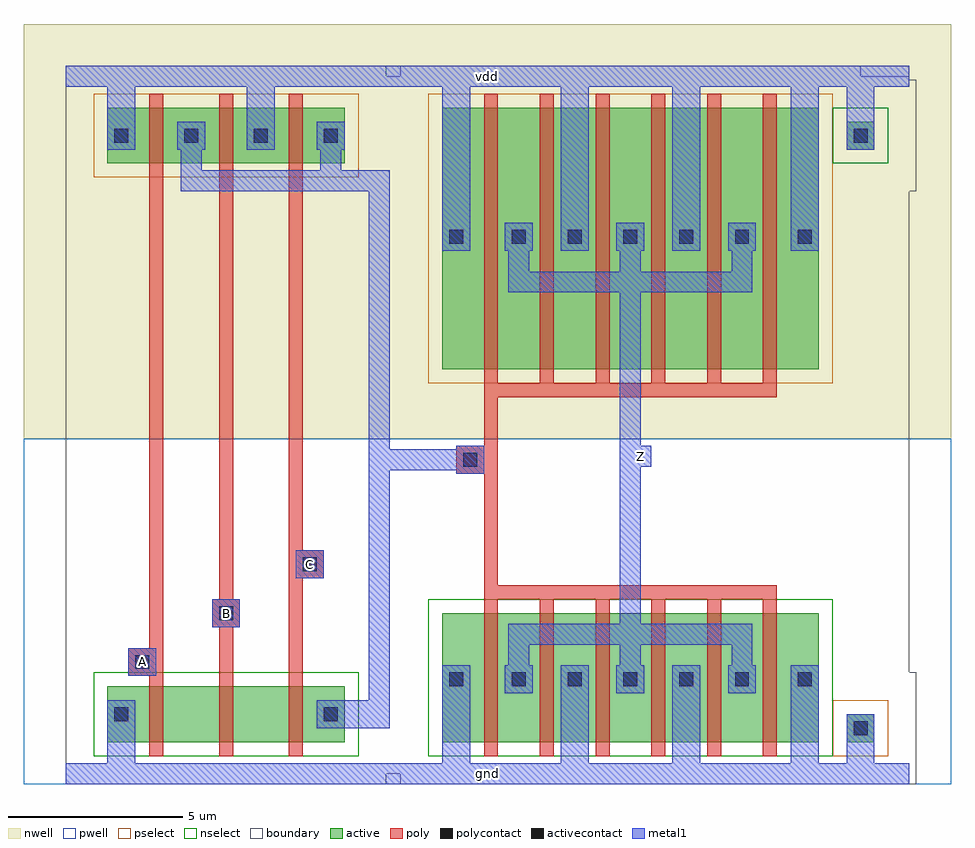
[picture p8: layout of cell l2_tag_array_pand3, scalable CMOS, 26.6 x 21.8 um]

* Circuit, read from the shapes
.subckt l2_tag_array_pand3 A B C Z gnd vdd
M1 l2_tag_array_pnand3_0_0/l2_tag_array_nmos_m1_w1_600_sm1_dactive_3/D A gnd gnd nfet w=1.6u l=0.4u
M2 l2_tag_array_pnand3_0_0/l2_tag_array_nmos_m1_w1_600_sactive_dactive_4/D B l2_tag_array_pnand3_0_0/l2_tag_array_nmos_m1_w1_600_sm1_dactive_3/D gnd nfet w=1.6u l=0.4u
M3 l2_tag_array_pdriver_2_1/A C l2_tag_array_pnand3_0_0/l2_tag_array_nmos_m1_w1_600_sactive_dactive_4/D gnd nfet w=1.6u l=0.4u
M4 Z l2_tag_array_pdriver_2_1/A gnd gnd nfet w=3.7u l=0.4u m=6
M5 l2_tag_array_pdriver_2_1/A A vdd vdd pfet w=1.6u l=0.4u
M6 vdd B l2_tag_array_pdriver_2_1/A vdd pfet w=1.6u l=0.4u
M7 l2_tag_array_pdriver_2_1/A C vdd vdd pfet w=1.6u l=0.4u
M8 Z l2_tag_array_pdriver_2_1/A vdd vdd pfet w=7.5u l=0.4u m=6
.ends

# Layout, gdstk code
import gdstk
lib = gdstk.Library(unit=1e-6, precision=1e-09)
def R(c, l, rs):  # rectangles x0, y0, x1, y1
    for r in rs: c.add(gdstk.rectangle(r[:2], r[2:], *l))
def A(c, l, x, y, w, h, nx, ny, dx, dy):  # array of equal rectangles
    R(c, l, [(x+i*dx, y+j*dy, x+i*dx+w, y+j*dy+h) for i in range(nx) for j in range(ny)])
pwell = (41, 0)
nwell = (42, 0)
active = (43, 0)
pselect = (44, 0)
nselect = (45, 0)
poly = (46, 0)
polycontact = (47, 0)
activecontact = (48, 0)
metal1 = (49, 0)
boundary = (63, 0)

l2_tag_array_contact_11 = lib.new_cell('l2_tag_array_contact_11')
R(l2_tag_array_contact_11, nwell, [(-1.2,-1.2,2,2)])
R(l2_tag_array_contact_11, active, [(0,0,0.8,0.8)])
R(l2_tag_array_contact_11, pselect, [(-0.4,-0.4,1.2,1.2)])
R(l2_tag_array_contact_11, activecontact, [(0.2,0.2,0.6,0.6)])
R(l2_tag_array_contact_11, metal1, [(0,0,0.8,0.8)])
R(l2_tag_array_contact_11, boundary, [(-1.2,-1.2,2,2)])

l2_tag_array_pmos_m1_w1_ = lib.new_cell('l2_tag_array_pmos_m1_w1_600_sm1_dm1')
R(l2_tag_array_pmos_m1_w1_, nwell, [(-1.2,-1.2,4,2.8)])
R(l2_tag_array_pmos_m1_w1_, active, [(0,0,2.8,1.6)])
R(l2_tag_array_pmos_m1_w1_, pselect, [(-0.4,-0.4,3.2,2)])
R(l2_tag_array_pmos_m1_w1_, poly, [(1.2,-0.4,1.6,2), (1.2,-0.4,1.6,2)])
R(l2_tag_array_pmos_m1_w1_, metal1, [(0,0.4,0.8,1.2), (2,0.4,2.8,1.2)])
R(l2_tag_array_pmos_m1_w1_, boundary, [(-1.2,-1.2,4,2.8)])
l2_tag_array_pmos_m1_w1_.add(gdstk.Reference(l2_tag_array_contact_11, (0,0.4)))
l2_tag_array_pmos_m1_w1_.add(gdstk.Reference(l2_tag_array_contact_11, (2,0.4)))
l2_tag_array_pmos_m1_w1_.add(gdstk.Label('G', (1.4,0.8), layer=46, texttype=0))
l2_tag_array_pmos_m1_w1_.add(gdstk.Label('S', (0.4,0.8), layer=49, texttype=0))
l2_tag_array_pmos_m1_w1_.add(gdstk.Label('D', (2.4,0.8), layer=49, texttype=0))

l2_tag_array_contact_10 = lib.new_cell('l2_tag_array_contact_10')
R(l2_tag_array_contact_10, pwell, [(-1.2,-1.2,2,2)])
R(l2_tag_array_contact_10, active, [(0,0,0.8,0.8)])
R(l2_tag_array_contact_10, nselect, [(-0.4,-0.4,1.2,1.2)])
R(l2_tag_array_contact_10, activecontact, [(0.2,0.2,0.6,0.6)])
R(l2_tag_array_contact_10, metal1, [(0,0,0.8,0.8)])
R(l2_tag_array_contact_10, boundary, [(-1.2,-1.2,2,2)])

l2_tag_array_nmos_m1_w1_ = lib.new_cell('l2_tag_array_nmos_m1_w1_600_sm1_dactive')
R(l2_tag_array_nmos_m1_w1_, pwell, [(-1.2,-1.2,4,2.8)])
R(l2_tag_array_nmos_m1_w1_, active, [(0,0,2.8,1.6), (2.1,0.5,2.7,1.1)])
R(l2_tag_array_nmos_m1_w1_, nselect, [(-0.4,-0.4,3.2,2)])
R(l2_tag_array_nmos_m1_w1_, poly, [(1.2,-0.4,1.6,2), (1.2,-0.4,1.6,2)])
R(l2_tag_array_nmos_m1_w1_, metal1, [(0,0.4,0.8,1.2)])
R(l2_tag_array_nmos_m1_w1_, boundary, [(-1.2,-1.2,4,2.8)])
l2_tag_array_nmos_m1_w1_.add(gdstk.Reference(l2_tag_array_contact_10, (0,0.4)))
l2_tag_array_nmos_m1_w1_.add(gdstk.Label('G', (1.4,0.8), layer=46, texttype=0))
l2_tag_array_nmos_m1_w1_.add(gdstk.Label('S', (0.4,0.8), layer=49, texttype=0))
l2_tag_array_nmos_m1_w1_.add(gdstk.Label('D', (2.4,0.8), layer=43, texttype=0))

c_l2_tag_array_nmos_m1_w1_ = lib.new_cell('l2_tag_array_nmos_m1_w1_600_sactive_dactive')
R(c_l2_tag_array_nmos_m1_w1_, pwell, [(-1.2,-1.2,4,2.8)])
R(c_l2_tag_array_nmos_m1_w1_, active, [(0,0,2.8,1.6), (0.1,0.5,0.7,1.1), (2.1,0.5,2.7,1.1)])
R(c_l2_tag_array_nmos_m1_w1_, nselect, [(-0.4,-0.4,3.2,2)])
R(c_l2_tag_array_nmos_m1_w1_, poly, [(1.2,-0.4,1.6,2), (1.2,-0.4,1.6,2)])
R(c_l2_tag_array_nmos_m1_w1_, boundary, [(-1.2,-1.2,4,2.8)])
c_l2_tag_array_nmos_m1_w1_.add(gdstk.Label('G', (1.4,0.8), layer=46, texttype=0))
c_l2_tag_array_nmos_m1_w1_.add(gdstk.Label('S', (0.4,0.8), layer=43, texttype=0))
c_l2_tag_array_nmos_m1_w1_.add(gdstk.Label('D', (2.4,0.8), layer=43, texttype=0))

c_l2_tag_array_nmos_m1_w1__ = lib.new_cell('l2_tag_array_nmos_m1_w1_600_sactive_dm1')
R(c_l2_tag_array_nmos_m1_w1__, pwell, [(-1.2,-1.2,4,2.8)])
R(c_l2_tag_array_nmos_m1_w1__, active, [(0,0,2.8,1.6), (0.1,0.5,0.7,1.1)])
R(c_l2_tag_array_nmos_m1_w1__, nselect, [(-0.4,-0.4,3.2,2)])
R(c_l2_tag_array_nmos_m1_w1__, poly, [(1.2,-0.4,1.6,2), (1.2,-0.4,1.6,2)])
R(c_l2_tag_array_nmos_m1_w1__, metal1, [(2,0.4,2.8,1.2)])
R(c_l2_tag_array_nmos_m1_w1__, boundary, [(-1.2,-1.2,4,2.8)])
c_l2_tag_array_nmos_m1_w1__.add(gdstk.Reference(l2_tag_array_contact_10, (2,0.4)))
c_l2_tag_array_nmos_m1_w1__.add(gdstk.Label('G', (1.4,0.8), layer=46, texttype=0))
c_l2_tag_array_nmos_m1_w1__.add(gdstk.Label('S', (0.4,0.8), layer=43, texttype=0))
c_l2_tag_array_nmos_m1_w1__.add(gdstk.Label('D', (2.4,0.8), layer=49, texttype=0))

l2_tag_array_contact_14 = lib.new_cell('l2_tag_array_contact_14')
R(l2_tag_array_contact_14, poly, [(0,0,0.8,0.8)])
R(l2_tag_array_contact_14, polycontact, [(0.2,0.2,0.6,0.6)])
R(l2_tag_array_contact_14, metal1, [(0,0,0.8,0.8)])
R(l2_tag_array_contact_14, boundary, [(0,0,0.8,0.8)])

l2_tag_array_pnand3_0 = lib.new_cell('l2_tag_array_pnand3_0')
R(l2_tag_array_pnand3_0, pwell, [(-1.2,-0.3,10.8,9.6)])
R(l2_tag_array_pnand3_0, nwell, [(-1.2,9.6,10.8,21.5)])
A(l2_tag_array_pnand3_0, poly, 2.4, 2.9, 0.4, 14.2, 3, 1, 2, 0)
R(l2_tag_array_pnand3_0, poly, [(2.2,2.8,2.4,3.6), (4.4,4.2,4.6,5), (6.4,5.6,7,6.4)])
R(l2_tag_array_pnand3_0, metal1, [(0,-0.3,9.6,0.3), (1.2,-0.3,2,1.3), (7.6,1.3,9,2.1), (8.7,1.3,9.3,17), (1.8,2.8,2.6,3.6), (4.2,4.2,5,5), (6.6,5.6,7.4,6.4), (3.3,16.7,3.9,17.3), (3.6,16.7,9,17.3), (7.3,16.7,7.9,17.3), (7.6,16.7,9,17.3), (8.7,16.7,9.3,17.3), (3.3,17,3.9,18.3), (7.3,17,7.9,18.3), (1.2,17.9,2,20.3), (5.2,17.9,6,20.3), (0,19.7,9.6,20.3)])
R(l2_tag_array_pnand3_0, boundary, [(0,0,9.6,20), (0,0,9.6,20)])
l2_tag_array_pnand3_0.add(gdstk.Reference(l2_tag_array_pmos_m1_w1_, (1.2,17.5)))
l2_tag_array_pnand3_0.add(gdstk.Reference(l2_tag_array_pmos_m1_w1_, (3.2,17.5)))
l2_tag_array_pnand3_0.add(gdstk.Reference(l2_tag_array_pmos_m1_w1_, (5.2,17.5)))
l2_tag_array_pnand3_0.add(gdstk.Reference(l2_tag_array_nmos_m1_w1_, (1.2,0.9)))
l2_tag_array_pnand3_0.add(gdstk.Reference(c_l2_tag_array_nmos_m1_w1_, (3.2,0.9)))
l2_tag_array_pnand3_0.add(gdstk.Reference(c_l2_tag_array_nmos_m1_w1__, (5.2,0.9)))
l2_tag_array_pnand3_0.add(gdstk.Reference(l2_tag_array_contact_14, (1.8,2.8)))
l2_tag_array_pnand3_0.add(gdstk.Reference(l2_tag_array_contact_14, (4.2,4.2)))
l2_tag_array_pnand3_0.add(gdstk.Reference(l2_tag_array_contact_14, (6.6,5.6)))
l2_tag_array_pnand3_0.add(gdstk.Label('A', (2.2,3.2), layer=49, texttype=0))
l2_tag_array_pnand3_0.add(gdstk.Label('B', (4.6,4.6), layer=49, texttype=0))
l2_tag_array_pnand3_0.add(gdstk.Label('C', (7,6), layer=49, texttype=0))
l2_tag_array_pnand3_0.add(gdstk.Label('Z', (9,17), layer=49, texttype=0))
l2_tag_array_pnand3_0.add(gdstk.Label('gnd', (4.8,0), layer=49, texttype=0))
l2_tag_array_pnand3_0.add(gdstk.Label('vdd', (4.8,20), layer=49, texttype=0))

l2_tag_array_pmos_m6_w7_ = lib.new_cell('l2_tag_array_pmos_m6_w7_500_sm1_dm1_da_p')
R(l2_tag_array_pmos_m6_w7_, nwell, [(-1.2,-1.2,12,8.7)])
R(l2_tag_array_pmos_m6_w7_, active, [(0,0,10.8,7.5)])
R(l2_tag_array_pmos_m6_w7_, pselect, [(-0.4,-0.4,11.2,7.9)])
A(l2_tag_array_pmos_m6_w7_, poly, 1.2, -0.4, 0.4, 8.3, 6, 1, 1.6, 0)
R(l2_tag_array_pmos_m6_w7_, poly, [(1.2,-0.8,9.6,-0.4)])
A(l2_tag_array_pmos_m6_w7_, metal1, 1.9, 2.4, 0.6, 1.4, 3, 1, 3.2, 0)
R(l2_tag_array_pmos_m6_w7_, metal1, [(1.9,2.2,8.9,2.8), (0,3.4,0.8,4.2), (3.4,3.4,4.2,4.2), (6.6,3.4,7.4,4.2), (10,3.4,10.8,4.2)])
R(l2_tag_array_pmos_m6_w7_, boundary, [(-1.2,-1.2,12,8.7)])
l2_tag_array_pmos_m6_w7_.add(gdstk.Reference(l2_tag_array_contact_11, (0,3.4)))
l2_tag_array_pmos_m6_w7_.add(gdstk.Reference(l2_tag_array_contact_11, (1.8,3.4)))
l2_tag_array_pmos_m6_w7_.add(gdstk.Reference(l2_tag_array_contact_11, (3.4,3.4)))
l2_tag_array_pmos_m6_w7_.add(gdstk.Reference(l2_tag_array_contact_11, (5,3.4)))
l2_tag_array_pmos_m6_w7_.add(gdstk.Reference(l2_tag_array_contact_11, (6.6,3.4)))
l2_tag_array_pmos_m6_w7_.add(gdstk.Reference(l2_tag_array_contact_11, (8.2,3.4)))
l2_tag_array_pmos_m6_w7_.add(gdstk.Reference(l2_tag_array_contact_11, (10,3.4)))
l2_tag_array_pmos_m6_w7_.add(gdstk.Label('G', (5.4,-0.6), layer=46, texttype=0))
l2_tag_array_pmos_m6_w7_.add(gdstk.Label('S', (10.4,3.8), layer=49, texttype=0))
l2_tag_array_pmos_m6_w7_.add(gdstk.Label('S', (0.4,3.8), layer=49, texttype=0))
l2_tag_array_pmos_m6_w7_.add(gdstk.Label('S', (3.8,3.8), layer=49, texttype=0))
l2_tag_array_pmos_m6_w7_.add(gdstk.Label('S', (7,3.8), layer=49, texttype=0))
l2_tag_array_pmos_m6_w7_.add(gdstk.Label('D', (5.4,2.5), layer=49, texttype=0))

l2_tag_array_nmos_m6_w3_ = lib.new_cell('l2_tag_array_nmos_m6_w3_700_sm1_dm1_da_p')
R(l2_tag_array_nmos_m6_w3_, pwell, [(-1.2,-1.2,12,4.9)])
R(l2_tag_array_nmos_m6_w3_, active, [(0,0,10.8,3.7)])
R(l2_tag_array_nmos_m6_w3_, nselect, [(-0.4,-0.4,11.2,4.1)])
A(l2_tag_array_nmos_m6_w3_, poly, 1.2, -0.4, 0.4, 4.5, 6, 1, 1.6, 0)
R(l2_tag_array_nmos_m6_w3_, poly, [(1.2,4.1,9.6,4.5)])
A(l2_tag_array_nmos_m6_w3_, metal1, 1.9, 1.8, 0.6, 1.4, 3, 1, 3.2, 0)
R(l2_tag_array_nmos_m6_w3_, metal1, [(0,1.4,0.8,2.2), (3.4,1.4,4.2,2.2), (6.6,1.4,7.4,2.2), (10,1.4,10.8,2.2), (1.9,2.8,8.9,3.4)])
R(l2_tag_array_nmos_m6_w3_, boundary, [(-1.2,-1.2,12,4.9)])
l2_tag_array_nmos_m6_w3_.add(gdstk.Reference(l2_tag_array_contact_10, (0,1.4)))
l2_tag_array_nmos_m6_w3_.add(gdstk.Reference(l2_tag_array_contact_10, (1.8,1.4)))
l2_tag_array_nmos_m6_w3_.add(gdstk.Reference(l2_tag_array_contact_10, (3.4,1.4)))
l2_tag_array_nmos_m6_w3_.add(gdstk.Reference(l2_tag_array_contact_10, (5,1.4)))
l2_tag_array_nmos_m6_w3_.add(gdstk.Reference(l2_tag_array_contact_10, (6.6,1.4)))
l2_tag_array_nmos_m6_w3_.add(gdstk.Reference(l2_tag_array_contact_10, (8.2,1.4)))
l2_tag_array_nmos_m6_w3_.add(gdstk.Reference(l2_tag_array_contact_10, (10,1.4)))
l2_tag_array_nmos_m6_w3_.add(gdstk.Label('G', (5.4,4.3), layer=46, texttype=0))
l2_tag_array_nmos_m6_w3_.add(gdstk.Label('S', (3.8,1.8), layer=49, texttype=0))
l2_tag_array_nmos_m6_w3_.add(gdstk.Label('S', (7,1.8), layer=49, texttype=0))
l2_tag_array_nmos_m6_w3_.add(gdstk.Label('S', (0.4,1.8), layer=49, texttype=0))
l2_tag_array_nmos_m6_w3_.add(gdstk.Label('S', (10.4,1.8), layer=49, texttype=0))
l2_tag_array_nmos_m6_w3_.add(gdstk.Label('D', (5.4,3.1), layer=49, texttype=0))

l2_tag_array_contact_12 = lib.new_cell('l2_tag_array_contact_12')
R(l2_tag_array_contact_12, nwell, [(-1.2,-1.2,2,2)])
R(l2_tag_array_contact_12, active, [(0,0,0.8,0.8)])
R(l2_tag_array_contact_12, nselect, [(-0.4,-0.4,1.2,1.2)])
R(l2_tag_array_contact_12, activecontact, [(0.2,0.2,0.6,0.6)])
R(l2_tag_array_contact_12, metal1, [(0,0,0.8,0.8)])
R(l2_tag_array_contact_12, boundary, [(-1.2,-1.2,2,2)])

l2_tag_array_contact_13 = lib.new_cell('l2_tag_array_contact_13')
R(l2_tag_array_contact_13, pwell, [(-1.2,-1.2,2,2)])
R(l2_tag_array_contact_13, active, [(0,0,0.8,0.8)])
R(l2_tag_array_contact_13, pselect, [(-0.4,-0.4,1.2,1.2)])
R(l2_tag_array_contact_13, activecontact, [(0.2,0.2,0.6,0.6)])
R(l2_tag_array_contact_13, metal1, [(0,0,0.8,0.8)])
R(l2_tag_array_contact_13, boundary, [(-1.2,-1.2,2,2)])

l2_tag_array_pinv_12 = lib.new_cell('l2_tag_array_pinv_12')
R(l2_tag_array_pinv_12, pwell, [(-1.2,-0.3,15.8,9.6)])
R(l2_tag_array_pinv_12, nwell, [(-1.2,9.6,15.8,21.5)])
R(l2_tag_array_pinv_12, poly, [(2.4,5.4,2.8,10.8), (2,8.6,2.4,9.4)])
R(l2_tag_array_pinv_12, metal1, [(0,-0.3,14.6,0.3), (1.2,-0.3,2,2.3), (4.6,-0.3,5.4,2.3), (7.8,-0.3,8.6,2.3), (11.2,-0.3,12,2.3), (12.8,0,13.6,1.3), (6.3,3.7,6.9,14.4), (1.6,8.6,2.4,9.4), (6.6,8.8,7.2,9.4), (1.2,15,2,20.3), (4.6,15,5.4,20.3), (7.8,15,8.6,20.3), (11.2,15,12,20.3), (12.8,18.3,13.6,20), (0,19.7,14.6,20.3)])
R(l2_tag_array_pinv_12, boundary, [(0,0,14.6,20), (0,0,14.6,20)])
l2_tag_array_pinv_12.add(gdstk.Reference(l2_tag_array_pmos_m6_w7_, (1.2,11.6)))
l2_tag_array_pinv_12.add(gdstk.Reference(l2_tag_array_nmos_m6_w3_, (1.2,0.9)))
l2_tag_array_pinv_12.add(gdstk.Reference(l2_tag_array_contact_12, (12.8,17.9)))
l2_tag_array_pinv_12.add(gdstk.Reference(l2_tag_array_contact_13, (12.8,0.9)))
l2_tag_array_pinv_12.add(gdstk.Reference(l2_tag_array_contact_14, (1.6,8.6)))
l2_tag_array_pinv_12.add(gdstk.Label('A', (2,9), layer=49, texttype=0))
l2_tag_array_pinv_12.add(gdstk.Label('Z', (6.9,9.1), layer=49, texttype=0))
l2_tag_array_pinv_12.add(gdstk.Label('gnd', (7.3,0), layer=49, texttype=0))
l2_tag_array_pinv_12.add(gdstk.Label('vdd', (7.3,20), layer=49, texttype=0))

l2_tag_array_pdriver_2 = lib.new_cell('l2_tag_array_pdriver_2')
R(l2_tag_array_pdriver_2, pwell, [(-1.2,-0.3,15.8,9.6)])
R(l2_tag_array_pdriver_2, nwell, [(-1.2,9.6,15.8,21.5)])
R(l2_tag_array_pdriver_2, metal1, [(0,-0.3,14.6,0.3), (1.6,8.6,2.4,9.4), (6.6,8.8,7.2,9.4), (0,19.7,14.6,20.3)])
R(l2_tag_array_pdriver_2, boundary, [(0,0,14.6,20), (0,0,14.6,20)])
l2_tag_array_pdriver_2.add(gdstk.Reference(l2_tag_array_pinv_12, (0,0)))
l2_tag_array_pdriver_2.add(gdstk.Label('Z', (6.9,9.1), layer=49, texttype=0))
l2_tag_array_pdriver_2.add(gdstk.Label('A', (2,9), layer=49, texttype=0))
l2_tag_array_pdriver_2.add(gdstk.Label('gnd', (7.3,0), layer=49, texttype=0))
l2_tag_array_pdriver_2.add(gdstk.Label('vdd', (7.3,20), layer=49, texttype=0))

l2_tag_array_pand3 = lib.new_cell('l2_tag_array_pand3')
R(l2_tag_array_pand3, metal1, [(0,-0.3,24.2,0.3), (1.8,2.8,2.6,3.6), (4.2,4.2,5,5), (6.6,5.6,7.4,6.4), (8.7,8.7,9.3,9.3), (9,8.7,11.6,9.3), (16.2,8.8,16.8,9.4), (8.7,9,9.3,17), (0,19.7,24.2,20.3)])
R(l2_tag_array_pand3, boundary, [(0,0,24.2,20), (0,0,24.2,20)])
l2_tag_array_pand3.add(gdstk.Reference(l2_tag_array_pnand3_0, (0,0)))
l2_tag_array_pand3.add(gdstk.Reference(l2_tag_array_pdriver_2, (9.6,0)))
l2_tag_array_pand3.add(gdstk.Label('Z', (16.5,9.1), layer=49, texttype=0))
l2_tag_array_pand3.add(gdstk.Label('A', (2.2,3.2), layer=49, texttype=0))
l2_tag_array_pand3.add(gdstk.Label('B', (4.6,4.6), layer=49, texttype=0))
l2_tag_array_pand3.add(gdstk.Label('C', (7,6), layer=49, texttype=0))
l2_tag_array_pand3.add(gdstk.Label('gnd', (12.1,0), layer=49, texttype=0))
l2_tag_array_pand3.add(gdstk.Label('vdd', (12.1,20), layer=49, texttype=0))

lib.write_gds('l2_tag_array_pand3.gds')
